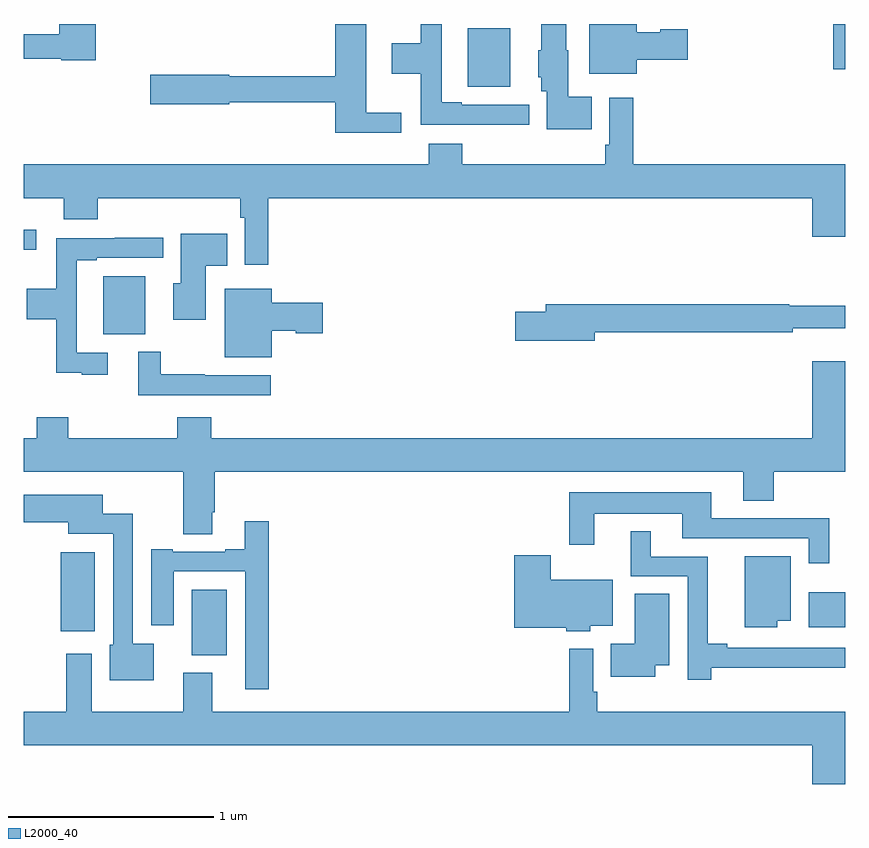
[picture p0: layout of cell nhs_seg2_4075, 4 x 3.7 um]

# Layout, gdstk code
import gdstk
lib = gdstk.Library(unit=1e-6, precision=1e-09)
def R(c, l, rs):  # rectangles x0, y0, x1, y1
    for r in rs: c.add(gdstk.rectangle(r[:2], r[2:], *l))
def P(c, l, *ps):  # polygons
    for p in ps: c.add(gdstk.Polygon(p, *l))
L2000_40 = (2000, 40)

nhs_seg2_4075 = lib.new_cell('nhs_seg2_4075')
R(nhs_seg2_4075, L2000_40, [(329.819,662.726,329.989,663.046), (329.18,662.843,329.347,663.229), (332.822,662.864,333,663.034), (329.387,664.289,329.593,664.573), (329,664.7,329.062,664.798), (331.163,665.495,331.369,665.779), (332.942,665.579,333,665.8)])
P(nhs_seg2_4075, L2000_40, [(329.351,665.8),(329.173,665.8),(329.173,665.751),(329,665.751),(329,665.632),(329.184,665.632),(329.184,665.624),(329.351,665.624)],
  [(331.462,665.406),(331.132,665.406),(331.132,665.419),(331.035,665.419),(331.035,665.8),(330.934,665.8),(330.934,665.706),(330.792,665.706),(330.792,665.558),(330.934,665.558),(330.934,665.31),(331.219,665.31),(331.219,665.309),(331.462,665.309)],
  [(331.766,665.446),(331.651,665.446),(331.651,665.673),(331.642,665.673),(331.642,665.8),(331.52,665.8),(331.52,665.673),(331.505,665.673),(331.505,665.541),(331.52,665.541),(331.52,665.472),(331.547,665.472),(331.547,665.288),(331.766,665.288)],
  [(331.984,665.627),(332.233,665.627),(332.233,665.774),(332.1,665.774),(332.1,665.761),(331.984,665.761),(331.984,665.8),(331.754,665.8),(331.754,665.558),(331.984,665.558)],
  [(330.838,665.369),(330.667,665.369),(330.667,665.8),(330.518,665.8),(330.518,665.546),(330,665.546),(330,665.552),(329.616,665.552),(329.616,665.41),(330,665.41),(330,665.418),(330.518,665.418),(330.518,665.27),(330.838,665.27)],
  [(332.84,664.764),(333,664.764),(333,665.116),(331.967,665.116),(331.967,665.44),(331.851,665.44),(331.851,665.212),(331.831,665.212),(331.831,665.116),(331.136,665.116),(331.136,665.218),(330.971,665.218),(330.971,665.116),(329,665.116),(329,664.952),(329.195,664.952),(329.195,664.85),(329.36,664.85),(329.36,664.952),(330.055,664.952),(330.055,664.856),(330.075,664.856),(330.075,664.629),(330.191,664.629),(330.191,664.952),(332.84,664.952)],
  [(329.887,664.622),(329.99,664.622),(329.99,664.78),(329.765,664.78),(329.765,664.539),(329.729,664.539),(329.729,664.361),(329.887,664.361)],
  [(329.41,664.2),(329.259,664.2),(329.259,664.65),(329.356,664.65),(329.356,664.662),(329.68,664.662),(329.68,664.76),(329.443,664.76),(329.443,664.758),(329.158,664.758),(329.158,664.51),(329.016,664.51),(329.016,664.363),(329.158,664.363),(329.158,664.103),(329.282,664.103),(329.282,664.092),(329.41,664.092)],
  [(330.208,664.307),(330.324,664.307),(330.324,664.295),(330.457,664.295),(330.457,664.442),(330.208,664.442),(330.208,664.51),(329.978,664.51),(329.978,664.178),(330.208,664.178)],
  [(331.78,664.3),(332.744,664.3),(332.744,664.319),(333,664.319),(333,664.429),(332.728,664.429),(332.728,664.436),(331.541,664.436),(331.541,664.4),(331.392,664.4),(331.392,664.258),(331.78,664.258)],
  [(330.202,664.089),(329.882,664.089),(329.882,664.094),(329.668,664.094),(329.668,664.204),(329.558,664.204),(329.558,663.993),(330.202,663.993)],
  [(329.917,663.424),(329.93,663.424),(329.93,663.62),(332.504,663.62),(332.504,663.478),(332.652,663.478),(332.652,663.62),(333,663.62),(333,664.159),(332.84,664.159),(332.84,663.784),(329.912,663.784),(329.912,663.886),(329.747,663.886),(329.747,663.784),(329.216,663.784),(329.216,663.886),(329.063,663.886),(329.063,663.784),(329,663.784),(329,663.62),(329.777,663.62),(329.777,663.316),(329.917,663.316)],
  [(332.921,663.393),(332.347,663.393),(332.347,663.52),(331.656,663.52),(331.656,663.264),(331.777,663.264),(331.777,663.416),(332.207,663.416),(332.207,663.297),(332.823,663.297),(332.823,663.174),(332.921,663.174)],
  [(329.632,662.782),(329.532,662.782),(329.532,663.416),(329.386,663.416),(329.386,663.508),(329,663.508),(329,663.374),(329.216,663.374),(329.216,663.318),(329.436,663.318),(329.436,662.778),(329.42,662.778),(329.42,662.606),(329.632,662.606)],
  [(330.194,663.379),(330.077,663.379),(330.077,663.244),(329.981,663.244),(329.981,663.231),(329.725,663.231),(329.725,663.244),(329.621,663.244),(329.621,662.874),(329.731,662.874),(329.731,663.135),(330.078,663.135),(330.078,662.562),(330.194,662.562)],
  [(332.348,662.666),(332.978,662.666),(332.978,662.667),(333,662.667),(333,662.763),(332.425,662.763),(332.425,662.783),(332.33,662.783),(332.33,663.207),(332.053,663.207),(332.053,663.331),(331.955,663.331),(331.955,663.111),(332.232,663.111),(332.232,662.607),(332.348,662.607)],
  [(331.758,662.87),(331.867,662.87),(331.867,663.094),(331.566,663.094),(331.566,663.214),(331.388,663.214),(331.388,662.861),(331.641,662.861),(331.641,662.843),(331.758,662.843)],
  [(332.668,662.894),(332.734,662.894),(332.734,663.208),(332.51,663.208),(332.51,662.864),(332.668,662.864)],
  [(332.074,662.678),(332.143,662.678),(332.143,663.026),(331.976,663.026),(331.976,662.782),(331.858,662.782),(331.858,662.621),(332.074,662.621)],
  [(333,662.452),(331.793,662.452),(331.793,662.548),(331.773,662.548),(331.773,662.758),(331.657,662.758),(331.657,662.452),(329.917,662.452),(329.917,662.641),(329.777,662.641),(329.777,662.452),(329.332,662.452),(329.332,662.734),(329.207,662.734),(329.207,662.452),(329,662.452),(329,662.288),(332.84,662.288),(332.84,662.1),(333,662.1)])

lib.write_gds('nhs_seg2_4075.gds')
